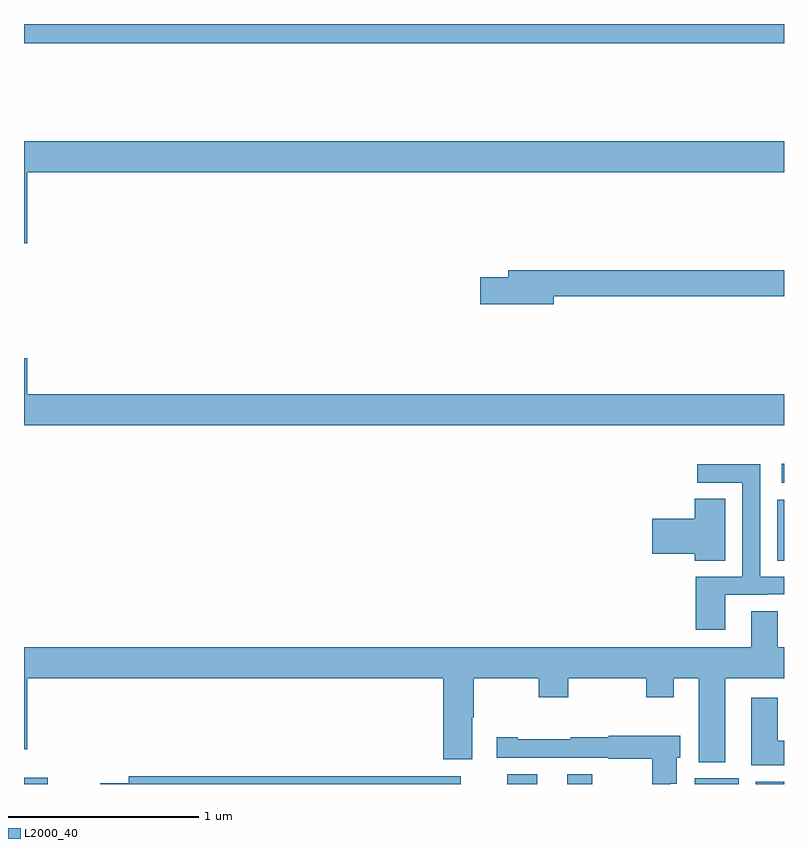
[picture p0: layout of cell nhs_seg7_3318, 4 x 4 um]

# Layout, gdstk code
import gdstk
lib = gdstk.Library(unit=1e-6, precision=1e-09)
def R(c, l, rs):  # rectangles x0, y0, x1, y1
    for r in rs: c.add(gdstk.rectangle(r[:2], r[2:], *l))
def P(c, l, *ps):  # polygons
    for p in ps: c.add(gdstk.Polygon(p, *l))
L2000_40 = (2000, 40)

nhs_seg7_3318 = lib.new_cell('nhs_seg7_3318')
R(nhs_seg7_3318, L2000_40, [(321,1060,321.124,1060.033), (323.543,1060,323.701,1060.052), (323.858,1060,323.992,1060.052), (324.53,1060,324.763,1060.03), (324.851,1060,325,1060.012), (324.965,1061.176,325,1061.496), (324.987,1061.585,325,1061.686), (321,1063.9,325,1064)])
P(nhs_seg7_3318, L2000_40, [(321.016,1063.22),(325,1063.22),(325,1063.384),(321,1063.384),(321,1062.846),(321.016,1062.846)],
  [(323.788,1062.568),(325,1062.568),(325,1062.704),(323.549,1062.704),(323.549,1062.668),(323.4,1062.668),(323.4,1062.526),(323.788,1062.526)],
  [(325,1062.052),(321.016,1062.052),(321.016,1062.241),(321,1062.241),(321,1061.888),(325,1061.888)],
  [(324.691,1060.995),(324.911,1060.995),(324.911,1060.998),(325,1060.998),(325,1061.091),(324.876,1061.091),(324.876,1061.684),(324.543,1061.684),(324.543,1061.586),(324.78,1061.586),(324.78,1061.091),(324.536,1061.091),(324.536,1060.812),(324.691,1060.812)],
  [(324.691,1061.501),(324.53,1061.501),(324.53,1061.396),(324.306,1061.396),(324.306,1061.213),(324.53,1061.213),(324.53,1061.176),(324.691,1061.176)],
  [(324.691,1060.556),(325,1060.556),(325,1060.72),(324.966,1060.72),(324.966,1060.91),(324.827,1060.91),(324.827,1060.72),(321,1060.72),(321,1060.182),(321.016,1060.182),(321.016,1060.556),(323.207,1060.556),(323.207,1060.131),(323.359,1060.131),(323.359,1060.352),(323.367,1060.352),(323.367,1060.556),(323.71,1060.556),(323.71,1060.457),(323.865,1060.457),(323.865,1060.556),(324.274,1060.556),(324.274,1060.457),(324.421,1060.457),(324.421,1060.556),(324.551,1060.556),(324.551,1060.115),(324.691,1060.115)],
  [(325,1060.228),(324.967,1060.228),(324.967,1060.453),(324.827,1060.453),(324.827,1060.1),(325,1060.1)],
  [(324.402,1060.001),(324.436,1060.001),(324.436,1060.137),(324.454,1060.137),(324.454,1060.255),(324.078,1060.255),(324.078,1060.246),(323.878,1060.246),(323.878,1060.236),(323.599,1060.236),(323.599,1060.246),(323.487,1060.246),(323.487,1060.137),(324.078,1060.137),(324.078,1060.133),(324.306,1060.133),(324.306,1060),(324.402,1060)],
  [(323.298,1060.04),(321.551,1060.04),(321.551,1060.004),(321.402,1060.004),(321.402,1060),(323.298,1060)])

lib.write_gds('nhs_seg7_3318.gds')
